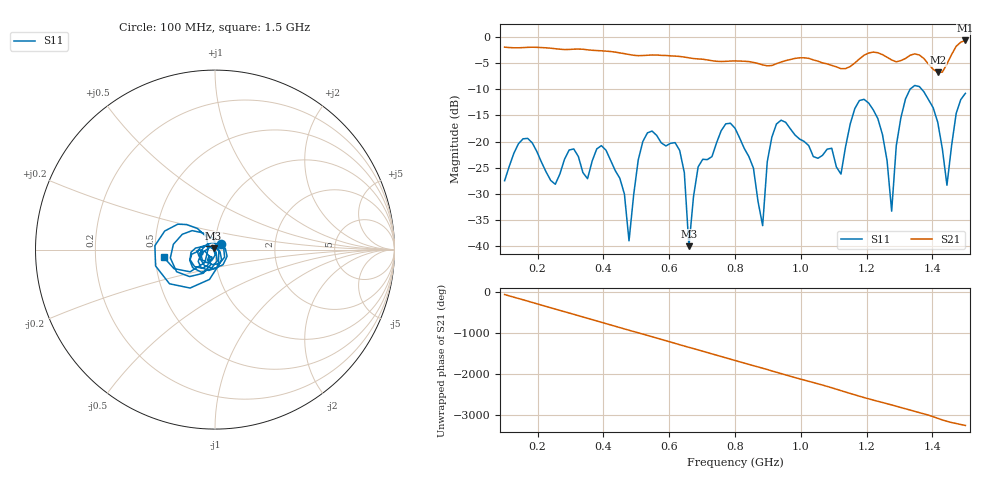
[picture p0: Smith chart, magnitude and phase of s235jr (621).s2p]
! NanoVNA-App
! Date: 2025-09-25 15:09:00
! Start: 100MHz Stop: 1,5GHz Points: 101
! S-Parameter data: F S11 S21 S12 S22
# Hz S RI R 50
!  Frequency  S11_Real  S11_Imag  S21_Real  S21_Imag  S12_Real  S12_Imag  S22_Real  S22_Imag
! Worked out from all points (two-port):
!   101 points, 100 MHz to 1.5 GHz, reference 50 ohm
!   highest |S21| = -0.68 dB at 1.5 GHz (marker M1); lowest = -6.8 dB at 1.416 GHz (marker M2)
!   |S21| within 3 dB of the highest: start of sweep to 621.1 MHz; 1.189 GHz to 1.256 GHz (67.67 MHz wide, 5.54 % of centre) (the widest 2 of 4)
!   lowest |S11| = -40.0 dB at 660 MHz (marker M3), VSWR 1.02, Z = 49.2 + j0.631 ohm
!   |S11| at or under -10 dB: start of sweep to 1.332 GHz; 1.367 GHz to end of sweep
!   S12 and S22 are empty: the file has one direction only
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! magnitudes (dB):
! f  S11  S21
! 100 MHz  -27.5  -2.0
! 156 MHz  -19.5  -2.0
! 338 MHz  -25.9  -2.4
! 408 MHz  -21.6  -2.7
! 478 MHz  -39.0  -3.4
! 520 MHz  -20.0  -3.6
! 576 MHz  -20.2  -3.5
! 632 MHz  -21.7  -3.7
! 660 MHz  -40.0  -4.0
! 688 MHz  -24.8  -4.2
! 800 MHz  -17.4  -4.6
! 884 MHz  -36.1  -5.3
! 926 MHz  -16.6  -5.1
! 1.038 GHz  -22.9  -4.4
! 1.122 GHz  -26.2  -6.1
! 1.192 GHz  -11.9  -3.5
! 1.248 GHz  -18.6  -3.4
! 1.276 GHz  -33.3  -4.4
! 1.332 GHz  -10.0  -3.5
! 1.416 GHz  -16.3  -6.8
! 1.444 GHz  -28.3  -5.2
! 1.5 GHz  -10.8  -0.7
